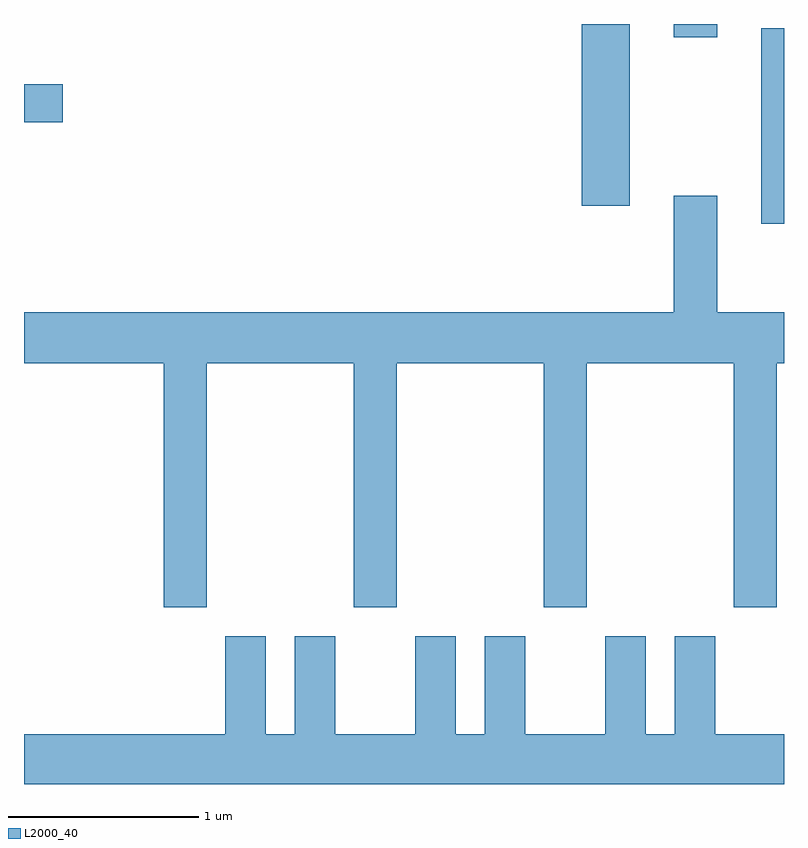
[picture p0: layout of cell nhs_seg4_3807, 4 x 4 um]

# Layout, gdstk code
import gdstk
lib = gdstk.Library(unit=1e-6, precision=1e-09)
def R(c, l, rs):  # rectangles x0, y0, x1, y1
    for r in rs: c.add(gdstk.rectangle(r[:2], r[2:], *l))
def P(c, l, *ps):  # polygons
    for p in ps: c.add(gdstk.Polygon(p, *l))
L2000_40 = (2000, 40)

nhs_seg4_3807 = lib.new_cell('nhs_seg4_3807')
R(nhs_seg4_3807, L2000_40, [(299.491,1390.931,299.611,1391.959), (298.546,1391.026,298.799,1391.982), (295.611,1391.466,295.814,1391.664), (299.031,1391.911,299.259,1391.982)])
P(nhs_seg4_3807, L2000_40, [(296.574,1390.196),(297.346,1390.196),(297.346,1388.911),(297.574,1388.911),(297.574,1390.196),(298.346,1390.196),(298.346,1388.911),(298.574,1388.911),(298.574,1390.196),(299.346,1390.196),(299.346,1388.911),(299.574,1388.911),(299.574,1390.196),(299.611,1390.196),(299.611,1390.464),(299.259,1390.464),(299.259,1391.079),(299.031,1391.079),(299.031,1390.464),(295.611,1390.464),(295.611,1390.196),(296.346,1390.196),(296.346,1388.911),(296.574,1388.911)],
  [(299.611,1388.244),(299.249,1388.244),(299.249,1388.759),(299.036,1388.759),(299.036,1388.244),(298.884,1388.244),(298.884,1388.759),(298.671,1388.759),(298.671,1388.244),(298.249,1388.244),(298.249,1388.759),(298.036,1388.759),(298.036,1388.244),(297.884,1388.244),(297.884,1388.759),(297.671,1388.759),(297.671,1388.244),(297.249,1388.244),(297.249,1388.759),(297.036,1388.759),(297.036,1388.244),(296.884,1388.244),(296.884,1388.759),(296.671,1388.759),(296.671,1388.244),(295.611,1388.244),(295.611,1387.982),(299.611,1387.982)])

lib.write_gds('nhs_seg4_3807.gds')
